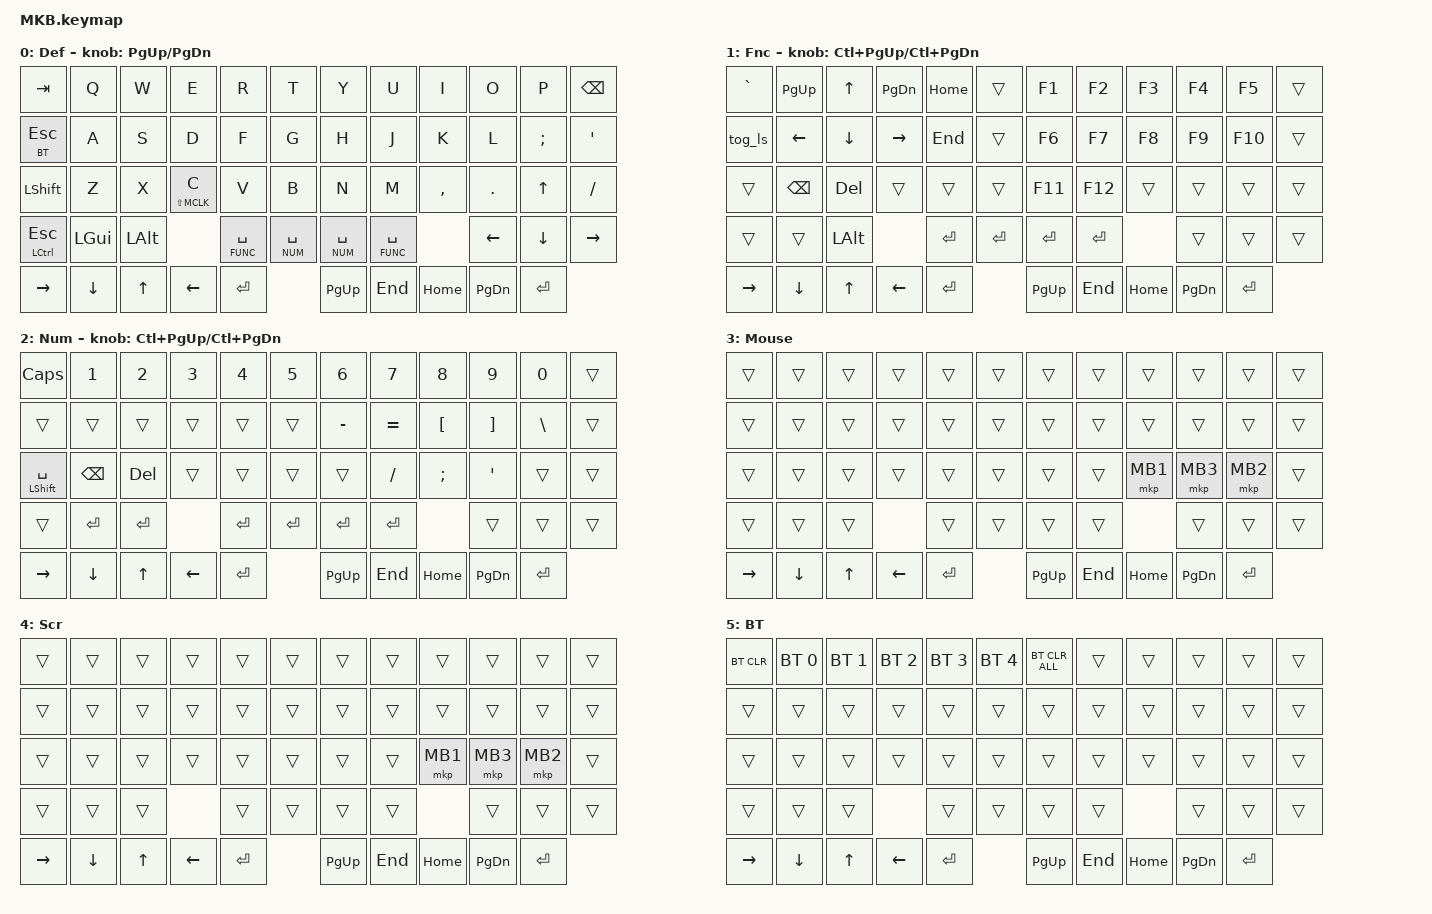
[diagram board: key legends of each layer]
// #include <layout_shift.dtsi>
#include <behaviors.dtsi>
#include <dt-bindings/zmk/keys.h>
#include <dt-bindings/zmk/pointing.h>
#include <dt-bindings/zmk/bt.h>
#include <dt-bindings/zmk/outputs.h>
#include <layout_shift_kp_override.dtsi>

#define DEF 0
#define FUNC 1
#define NUM 2
#define MOUSE 3
#define SCROLL 4
#define BT 5

&mt {
    flavor = "balanced";
    tapping-term-ms = <280>;
    quick-tap-ms = <175>;
    require-prior-idle-ms = <150>;
};

/ {
	keymap {
		compatible = "zmk,keymap";
		default_layer {
			label="Def";
			bindings = <
&kp TAB          &kp Q             &kp W            &kp E            &kp R            &kp T                &kp Y             &kp U            &kp I            &kp O            &kp P           &kp BKSP
&lt BT ESC       &kp A             &kp S            &kp D            &kp F            &kp G                &kp H             &kp J            &kp K            &kp L            &kp SEMI        &kp SQT
&kp LSHFT        &kp Z             &kp X            &mt LS(MCLK) C   &kp V            &kp B                &kp N             &kp M            &kp COMMA        &kp DOT          &kp UP          &kp FSLH
&mt LCTL ESC     &kp LGUI          &kp LALT                          &lt FUNC SPACE   &lt NUM SPACE        &lt NUM SPACE     &lt FUNC SPACE                    &kp LEFT         &kp DOWN        &kp RIGHT
//<              ^                 +                _                >                                     <                 ^                +                _                >
&kp RIGHT        &kp DOWN          &kp UP           &kp LEFT         &kp ENTER                             &kp PG_UP         &kp END          &kp HOME         &kp PG_DN        &kp ENTER
			>;
            sensor-bindings = <&inc_dec_kp PG_UP PAGE_DOWN>;
		};
		
		function_layer {
			label="Fnc";
			bindings = <
&kp GRAVE        &kp PG_UP         &kp UP           &kp PG_DN        &kp HOME         &trans               &kp F1            &kp F2           &kp F3           &kp F4            &kp F5         &trans
&tog_ls          &kp LEFT          &kp DOWN         &kp RIGHT        &kp END          &trans               &kp F6            &kp F7           &kp F8           &kp F9            &kp F10        &trans
&trans           &kp BKSP          &kp DEL          &trans           &trans           &trans               &kp F11           &kp F12          &trans           &trans            &trans         &trans
&trans           &trans            &kp LALT                          &kp ENTER        &kp ENTER            &kp ENTER         &kp ENTER                         &trans            &trans         &trans
//<              ^                 +                _                >                                     <                 ^                +                _                >
&kp RIGHT        &kp DOWN          &kp UP           &kp LEFT         &kp ENTER                             &kp PG_UP         &kp END          &kp HOME         &kp PG_DN        &kp ENTER
			>;
            sensor-bindings = <&inc_dec_kp LC(PAGE_UP) LC(PAGE_DOWN)>;
		};
		
		num_layer {
			label="Num";
			bindings = <
&kp CAPS          &kp N1           &kp N2           &kp N3           &kp N4           &kp N5               &kp N6            &kp N7           &kp N8           &kp N9            &kp N0          &trans
&trans            &trans           &trans           &trans           &trans           &trans               &kp MINUS         &kp EQUAL        &kp LBKT         &kp RBKT          &kp BSLH        &trans
&mt LSHFT SPACE   &kp BACKSPACE    &kp DEL          &trans           &trans           &trans               &trans            &kp FSLH         &kp SEMI         &kp SQT           &trans          &trans  
&trans            &kp ENTER        &kp ENTER                         &kp ENTER        &kp ENTER            &kp ENTER         &kp ENTER                         &trans            &trans          &trans
//<              ^                 +                _                >                                     <                 ^                +                _                >
&kp RIGHT        &kp DOWN          &kp UP           &kp LEFT         &kp ENTER                             &kp PG_UP         &kp END          &kp HOME         &kp PG_DN        &kp ENTER
			>;
            sensor-bindings = <&inc_dec_kp LC(PAGE_UP) LC(PAGE_DOWN)>;
		};
		
		mouse_layer {
			label="Mouse";
			bindings = <
&trans            &trans           &trans           &trans           &trans           &trans               &trans            &trans           &trans           &trans           &trans           &trans
&trans            &trans           &trans           &trans           &trans           &trans               &trans            &trans           &trans           &trans           &trans           &trans
&trans            &trans           &trans           &trans           &trans           &trans               &trans            &trans           &mkp MB1         &mkp MB3         &mkp MB2         &trans
&trans            &trans           &trans                            &trans           &trans               &trans            &trans                            &trans           &trans           &trans
//<              ^                 +                _                >                                     <                 ^                +                _                >
&kp RIGHT        &kp DOWN          &kp UP           &kp LEFT         &kp ENTER                             &kp PG_UP         &kp END          &kp HOME         &kp PG_DN        &kp ENTER
			>;
		};
		
		scroll_layer {
			label="Scr";
			bindings = <
&trans            &trans           &trans           &trans           &trans           &trans               &trans            &trans           &trans           &trans           &trans           &trans
&trans            &trans           &trans           &trans           &trans           &trans               &trans            &trans           &trans           &trans           &trans           &trans
&trans            &trans           &trans           &trans           &trans           &trans               &trans            &trans           &mkp MB1         &mkp MB3         &mkp MB2         &trans
&trans            &trans           &trans                            &trans           &trans               &trans            &trans                            &trans           &trans           &trans
//<              ^                 +                _                >                                     <                 ^                +                _                >
&kp RIGHT        &kp DOWN          &kp UP           &kp LEFT         &kp ENTER                             &kp PG_UP         &kp END          &kp HOME         &kp PG_DN        &kp ENTER
			>;
		};
		
		bt_layer {
			label="BT";
			bindings = <
&bt BT_CLR        &bt BT_SEL 0     &bt BT_SEL 1     &bt BT_SEL 2     &bt BT_SEL 3     &bt BT_SEL 4         &bt BT_CLR_ALL    &trans           &trans           &trans           &trans           &trans
&trans            &trans           &trans           &trans           &trans           &trans               &trans            &trans           &trans           &trans           &trans           &trans
&trans            &trans           &trans           &trans           &trans           &trans               &trans            &trans           &trans           &trans           &trans           &trans
&trans            &trans           &trans                            &trans           &trans               &trans            &trans                            &trans           &trans           &trans
//<              ^                 +                _                >                                     <                 ^                +                _                >
&kp RIGHT        &kp DOWN          &kp UP           &kp LEFT         &kp ENTER                             &kp PG_UP         &kp END          &kp HOME         &kp PG_DN        &kp ENTER
			>;
		};
	};

    behaviors {
		// toJIS: toJIS {
		// 	compatible = "zmk,behavior-hold-tap";
		// 	#binding-cells = <2>;
		// 	tapping-term-ms = <200>;
		// 	quick-tap-ms = <0>;
		// 	bindings = <&tog_ls>, <&kp>;
		// };
	// 	leader1: leader1 {
    //         compatible = "zmk,behavior-leader-key";
    //         #binding-cells = <0>;
    //         leftdown { sequence = <F14 F15>; bindings = <&kp PG_DN>; };
    //         out { sequence = <O U T>; bindings = <&out OUT_TOG>; };
    //     };
    //     leader2: leader2 {
    //         compatible = "zmk,behavior-leader-key";
    //         #binding-cells = <0>;
    //         leftup   { sequence = <F14 F13>; bindings = <&kp PG_UP>; };
    //     };
    //     leader3: leader3 {
    //         compatible = "zmk,behavior-leader-key";
    //         #binding-cells = <0>;
    //         rightdown { sequence = <F17 F18>; bindings = <&kp END>; };
    //     };
    //     leader4: leader4 {
    //         compatible = "zmk,behavior-leader-key";
    //         #binding-cells = <0>;
    //         rightup   { sequence = <F17 F16>; bindings = <&kp HOME>; };
    //     };
	// 	mF13: mF13 {
    //         compatible = "zmk,behavior-macro";
    //         #binding-cells = <0>;
    //         bindings = <&macro_tap &kp F13>
    //                  , <&leader1>;
    //     };
    //     mF14: mF14 {
    //         compatible = "zmk,behavior-macro";
    //         #binding-cells = <0>;
    //         bindings = <&macro_tap &kp F14>;
    //     };
    //     mF15: mF15 {
    //         compatible = "zmk,behavior-macro";
    //         #binding-cells = <0>;
    //         bindings = <&macro_tap &kp F15>
    //                  , <&leader2>;
    //     };
    //     mF16: mF16 {
    //         compatible = "zmk,behavior-macro";
    //         #binding-cells = <0>;
    //         bindings = <&macro_tap &kp F16>
    //                 , <&leader3>;
    //     };
    //     mF17: mF17 {
    //         compatible = "zmk,behavior-macro";
    //         #binding-cells = <0>;
    //         bindings = <&macro_tap &kp F17>;
    //     };
    //     mF18: mF18 {
    //         compatible = "zmk,behavior-macro";
    //         #binding-cells = <0>;
    //         bindings = <&macro_tap &kp F18>
    //                 , <&leader4>;
    //     };
	};
};
